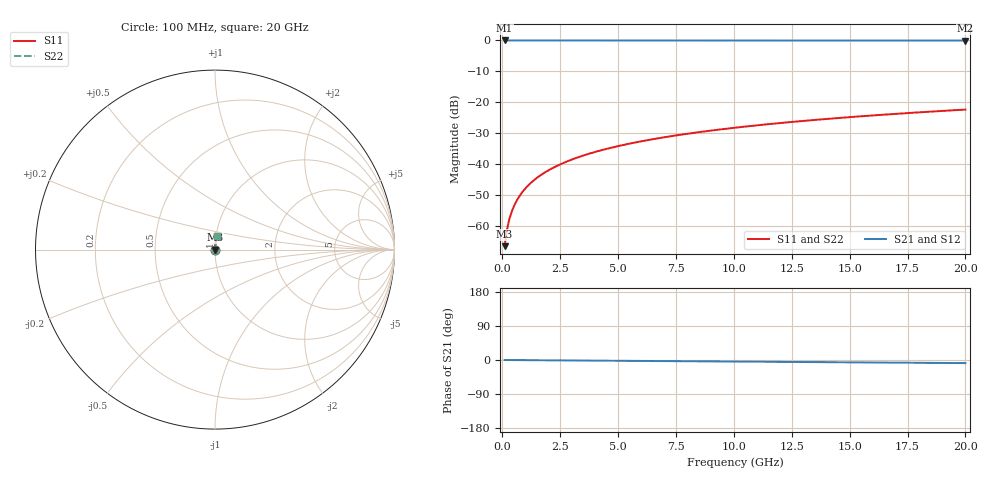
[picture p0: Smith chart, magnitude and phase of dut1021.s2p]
! Touchstone file exported from HFSS 2026.1.0
!  File:  C:/ffzhzh/LocalFiles/Ansys_Project_Files/temp_train_TSV_1021_1783188850_43440.aedt
!  Generated:  02:16:00 AM Jul  5, 2026
!  Design:  TSV
!  Project:  temp_train_TSV_1021_1783188850_43440
! Variables:
!  h_bsmrdl = 2um
!  h_ox = 20um
!  h_rdl = 5um
!  h_sub = 61.07um
!  h_tmrdl = 5um
!  h_tsv = 61.07um
!  h_via = 3um
!  l_bsmrdl = 300um
!  l_sub = 412.28um
!  l_tmrdl = 200um
!  m_sub = 200um
!  pitch = 57.23um
!  r_tsv = 6.14um
!  s_tmrdl = 10um
!  w_bsmrdl = 18um
!  w_sub = 500um
!  w_tmrdl = 12um
!  x_tsv_center1 = 206um
!  x_tsv_center2 = 524um
!  x_tsv_center3 = 736um
!  x_tsv_center4 = 1054um
!  x_tsv_center5 = 1266um
!  x_tsv_center6 = 1584um
# GHz S MA R 50.000000
! Terminal data exported
! Port[1] = TSV1_1_T1
! Port[2] = TSV1_1_T2
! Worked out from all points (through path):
!   200 points, 100 MHz to 20 GHz, reference 50 ohm
!   highest |S21| = 0.00 dB at 100 MHz (marker M1); lowest = 0.0 dB at 20 GHz (marker M2)
!   group delay of S21, straight-line fit = 1.14 ps
!   lowest |S11| = -66.5 dB at 100 MHz (marker M3), VSWR 1.00, Z = 50 + j0.0418 ohm
!   |S11| at or under -10 dB: start of sweep to end of sweep
!   |S22| runs from -66.5 to -22.3 dB; largest |S21 - S12| = 5e-15
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0.1  0.0004724 62.3  0.9998 -0.0  0.9998 -0.0  0.0004724 62.3
! Gamma 0 0 0 0
! Port Impedance 50 0 50 0
0.2  0.0008653 74.7  0.9998 -0.1  0.9998 -0.1  0.0008653 74.7
0.3  0.001271 79.0  0.9998 -0.1  0.9998 -0.1  0.001271 79.0
0.4  0.001677 81.1  0.9997 -0.2  0.9997 -0.2  0.001677 81.1
0.5  0.002082 82.3  0.9997 -0.2  0.9997 -0.2  0.002082 82.3
0.6  0.002483 83.1  0.9997 -0.3  0.9997 -0.3  0.002483 83.1
0.7  0.002882 83.6  0.9997 -0.3  0.9997 -0.3  0.002882 83.6
0.8  0.003278 84.1  0.9997 -0.3  0.9997 -0.3  0.003278 84.1
1  0.004066 84.7  0.9996 -0.4  0.9996 -0.4  0.004066 84.7
1.4  0.005633 85.4  0.9996 -0.6  0.9996 -0.6  0.005633 85.4
1.7  0.006805 85.7  0.9995 -0.7  0.9995 -0.7  0.006805 85.7
2  0.007974 85.9  0.9995 -0.8  0.9995 -0.8  0.007974 85.9
2.7  0.0107 86.1  0.9994 -1.1  0.9994 -1.1  0.0107 86.1
3.5  0.0138 86.1  0.9993 -1.5  0.9993 -1.5  0.0138 86.1
4.2  0.0165 86.0  0.9992 -1.7  0.9992 -1.7  0.0165 86.0
5  0.01958 85.9  0.9991 -2.1  0.9991 -2.1  0.01958 85.9
6.8  0.02647 85.4  0.9988 -2.8  0.9988 -2.8  0.02647 85.4
8.3  0.03219 84.9  0.9986 -3.4  0.9986 -3.4  0.03219 84.9
10.1  0.03904 84.4  0.9982 -4.2  0.9982 -4.2  0.03904 84.4
13.4  0.05154 83.2  0.9975 -5.5  0.9975 -5.5  0.05154 83.2
16.7  0.06396 82.0  0.9967 -6.9  0.9967 -6.9  0.06396 82.0
20  0.0763 80.7  0.9957 -8.2  0.9957 -8.2  0.0763 80.7
